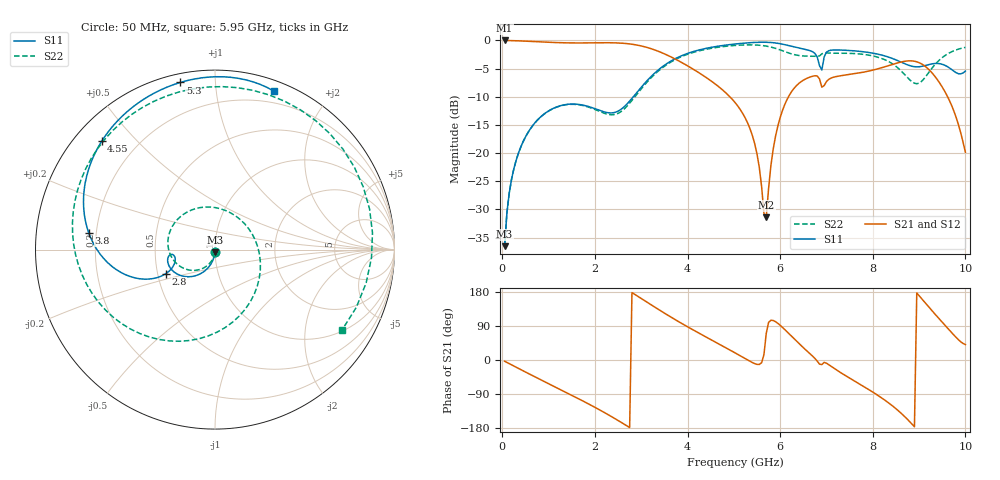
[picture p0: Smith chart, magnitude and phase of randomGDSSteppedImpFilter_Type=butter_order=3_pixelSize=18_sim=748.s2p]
! freq	dB(S11)	phase(S11)	dB(S12)	phase(S12)
!  dB(S21)	phase(S21)	dB(S22)	phase(S22)
!S-par simulation data
#  GHz  S  DB  R 50
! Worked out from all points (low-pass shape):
!   200 points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, 50 MHz to 10 GHz, reference 50 ohm
!   highest |S21| = -0.01 dB at 50 MHz (marker M1); lowest = -31.4 dB at 5.7 GHz (marker M2)
!   |S21| within 3 dB of the highest: start of sweep to 3.662 GHz
!   lowest |S11| = -36.5 dB at 50 MHz (marker M3), VSWR 1.03, Z = 49.9 - j1.49 ohm
!   |S11| at or under -10 dB: start of sweep to 2.83 GHz
!   |S22| runs from -36.5 to -0.8 dB; largest |S21 - S12| = 0
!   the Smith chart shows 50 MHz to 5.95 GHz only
!   S11 on the Smith chart (normalised r, x): 50 MHz: 1.00, -0.03; 2.8 GHz: 0.55, -0.16; 3.8 GHz: 0.17, +0.06; 4.55 GHz: 0.08, +0.40; 5.3 GHz: 0.04, +0.81; 5.95 GHz: 0.09, +1.43
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0.05  -36.52 -92.2  -0.01 -3.2  -0.01 -3.2  -36.53 -93.2
0.2  -24.65 -100.9  -0.04 -12.8  -0.04 -12.8  -24.66 -104.8
0.5  -17.14 -117.2  -0.13 -31.7  -0.13 -31.7  -17.16 -127.2
1.75  -11.50 -170.0  -0.45 -108.7  -0.45 -108.7  -11.58 131.8
2.8  -10.29 -153.9  -0.68 177.9  -0.68 177.9  -10.65 -32.7
3.4  -5.03 -168.5  -2.03 131.3  -2.03 131.3  -5.22 -111.3
3.8  -2.98 172.5  -3.59 101.7  -3.59 101.7  -3.14 -151.1
4.55  -1.17 136.3  -7.44 50.8  -7.44 50.8  -1.35 143.6
5.05  -0.62 113.3  -11.28 17.1  -11.28 17.1  -0.88 97.9
5.3  -0.43 101.7  -14.70 -0.3  -14.70 -0.3  -0.79 70.8
5.7  -0.33 82.3  -31.37 70.4  -31.37 70.4  -1.01 14.7
5.95  -0.51 69.8  -15.20 96.7  -15.20 96.7  -1.54 -32.5
6.25  -1.05 55.9  -9.05 62.1  -9.05 62.1  -2.40 -99.5
6.7  -2.01 36.0  -6.36 10.3  -6.36 10.3  -2.81 171.1
6.9  -5.26 45.6  -8.30 -12.0  -8.30 -12.0  -2.39 143.8
7.4  -1.74 19.2  -6.16 -40.4  -6.16 -40.4  -2.28 82.0
7.95  -2.19 -5.3  -5.37 -80.8  -5.37 -80.8  -2.67 26.8
8.35  -2.99 -23.4  -4.45 -113.9  -4.45 -113.9  -3.78 -19.2
8.75  -4.34 -38.5  -3.64 -156.7  -3.64 -156.7  -6.59 -90.9
9.1  -4.53 -49.4  -4.41 155.6  -4.41 155.6  -6.86 164.1
9.6  -4.60 -107.0  -9.75 86.1  -9.75 86.1  -2.47 67.1
10  -5.44 131.7  -19.86 40.8  -19.86 40.8  -1.23 26.9
